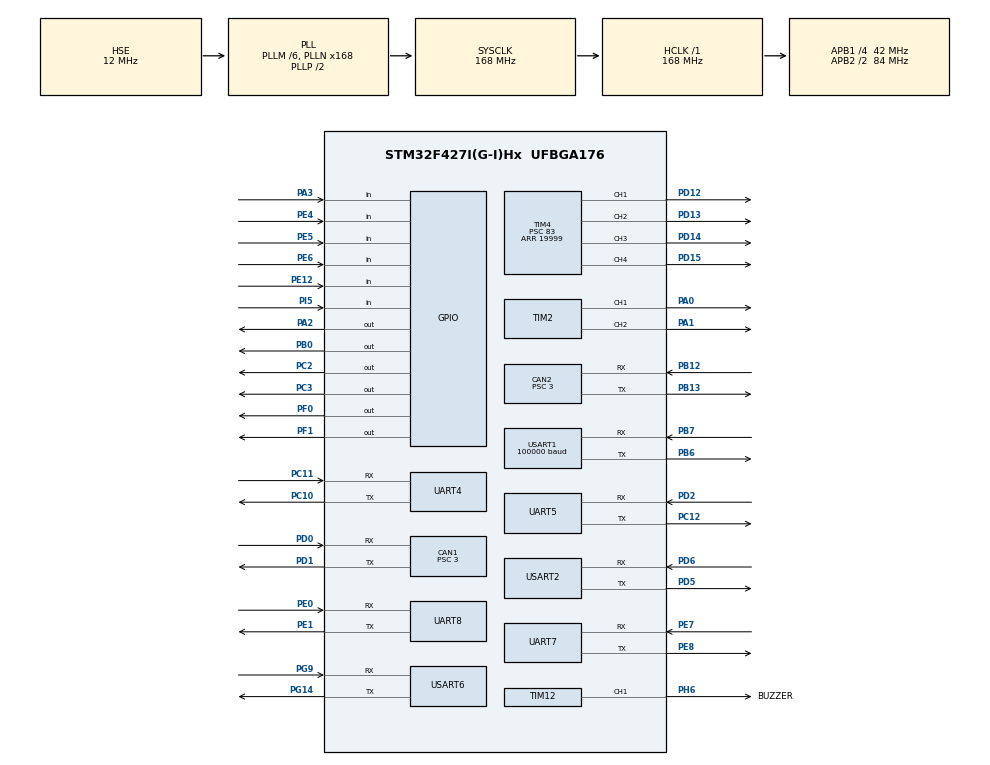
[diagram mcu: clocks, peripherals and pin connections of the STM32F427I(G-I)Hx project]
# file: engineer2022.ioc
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CAN1.BS1=CAN_BS1_10TQ
CAN1.BS2=CAN_BS2_3TQ
CAN1.CalculateBaudRate=1000000
CAN1.CalculateTimeBit=1000
CAN1.CalculateTimeQuantum=71.42857142857143
CAN1.Prescaler=3
CAN2.BS1=CAN_BS1_10TQ
CAN2.BS2=CAN_BS2_3TQ
CAN2.CalculateBaudRate=1000000
CAN2.CalculateTimeBit=1000
CAN2.CalculateTimeQuantum=71.42857142857143
CAN2.Prescaler=3
Dma.Request0=USART1_RX
Dma.Request1=USART6_RX
Dma.Request2=USART6_TX
Dma.Request3=USART2_RX
Dma.Request4=USART2_TX
Dma.USART1_RX.0.Direction=DMA_PERIPH_TO_MEMORY
Dma.USART1_RX.0.FIFOMode=DMA_FIFOMODE_DISABLE
Dma.USART1_RX.0.Instance=DMA2_Stream2
Dma.USART1_RX.0.MemDataAlignment=DMA_MDATAALIGN_BYTE
Dma.USART1_RX.0.MemInc=DMA_MINC_ENABLE
Dma.USART1_RX.0.Mode=DMA_CIRCULAR
Dma.USART1_RX.0.PeriphDataAlignment=DMA_PDATAALIGN_BYTE
Dma.USART1_RX.0.PeriphInc=DMA_PINC_DISABLE
Dma.USART1_RX.0.Priority=DMA_PRIORITY_VERY_HIGH
Dma.USART2_RX.3.Direction=DMA_PERIPH_TO_MEMORY
Dma.USART2_RX.3.FIFOMode=DMA_FIFOMODE_DISABLE
Dma.USART2_RX.3.Instance=DMA1_Stream5
Dma.USART2_RX.3.MemDataAlignment=DMA_MDATAALIGN_BYTE
Dma.USART2_RX.3.MemInc=DMA_MINC_ENABLE
Dma.USART2_RX.3.Mode=DMA_NORMAL
Dma.USART2_RX.3.PeriphDataAlignment=DMA_PDATAALIGN_BYTE
Dma.USART2_RX.3.PeriphInc=DMA_PINC_DISABLE
Dma.USART2_RX.3.Priority=DMA_PRIORITY_VERY_HIGH
Dma.USART2_TX.4.Direction=DMA_MEMORY_TO_PERIPH
Dma.USART2_TX.4.FIFOMode=DMA_FIFOMODE_DISABLE
Dma.USART2_TX.4.Instance=DMA1_Stream6
Dma.USART2_TX.4.MemDataAlignment=DMA_MDATAALIGN_BYTE
Dma.USART2_TX.4.MemInc=DMA_MINC_ENABLE
Dma.USART2_TX.4.Mode=DMA_NORMAL
Dma.USART2_TX.4.PeriphDataAlignment=DMA_PDATAALIGN_BYTE
Dma.USART2_TX.4.PeriphInc=DMA_PINC_DISABLE
Dma.USART2_TX.4.Priority=DMA_PRIORITY_VERY_HIGH
Dma.USART6_RX.1.Direction=DMA_PERIPH_TO_MEMORY
Dma.USART6_RX.1.FIFOMode=DMA_FIFOMODE_DISABLE
Dma.USART6_RX.1.Instance=DMA2_Stream1
Dma.USART6_RX.1.MemDataAlignment=DMA_MDATAALIGN_BYTE
Dma.USART6_RX.1.MemInc=DMA_MINC_ENABLE
Dma.USART6_RX.1.Mode=DMA_NORMAL
Dma.USART6_RX.1.PeriphDataAlignment=DMA_PDATAALIGN_BYTE
Dma.USART6_RX.1.PeriphInc=DMA_PINC_DISABLE
Dma.USART6_RX.1.Priority=DMA_PRIORITY_HIGH
Dma.USART6_TX.2.Direction=DMA_MEMORY_TO_PERIPH
Dma.USART6_TX.2.FIFOMode=DMA_FIFOMODE_DISABLE
Dma.USART6_TX.2.Instance=DMA2_Stream6
Dma.USART6_TX.2.MemDataAlignment=DMA_MDATAALIGN_BYTE
Dma.USART6_TX.2.MemInc=DMA_MINC_ENABLE
Dma.USART6_TX.2.Mode=DMA_NORMAL
Dma.USART6_TX.2.PeriphDataAlignment=DMA_PDATAALIGN_BYTE
Dma.USART6_TX.2.PeriphInc=DMA_PINC_DISABLE
Dma.USART6_TX.2.Priority=DMA_PRIORITY_LOW
FREERTOS.INCLUDE_eTaskGetState=1
FREERTOS.INCLUDE_pcTaskGetTaskName=1
FREERTOS.INCLUDE_uxTaskGetStackHighWaterMark=1
FREERTOS.INCLUDE_uxTaskGetStackHighWaterMark2=1
FREERTOS.INCLUDE_vTaskCleanUpResources=1
FREERTOS.INCLUDE_vTaskDelayUntil=1
FREERTOS.INCLUDE_xQueueGetMutexHolder=1
FREERTOS.INCLUDE_xSemaphoreGetMutexHolder=1
FREERTOS.INCLUDE_xTaskAbortDelay=1
FREERTOS.INCLUDE_xTaskGetCurrentTaskHandle=1
FREERTOS.INCLUDE_xTaskGetHandle=1
FREERTOS.Tasks01=defaultTask,0,128,StartDefaultTask,Default,NULL,Dynamic,NULL,NULL
FREERTOS.configTOTAL_HEAP_SIZE=24576
FREERTOS.configUSE_TIMERS=1
Mcu.Family=STM32F4
Mcu.Name=STM32F427I(G-I)Hx
Mcu.Package=UFBGA176
NVIC.CAN1_RX0_IRQn=true\:5\:0\:false\:false\:true\:true\:true\:true\:true
NVIC.CAN2_RX0_IRQn=true\:5\:0\:false\:false\:true\:true\:true\:true\:true
NVIC.DMA1_Stream5_IRQn=true\:5\:0\:false\:false\:true\:true\:false\:true\:true
NVIC.DMA1_Stream6_IRQn=true\:5\:0\:false\:false\:true\:true\:false\:true\:true
NVIC.DMA2_Stream1_IRQn=true\:5\:0\:false\:false\:true\:true\:false\:true\:true
NVIC.DMA2_Stream2_IRQn=true\:5\:0\:false\:false\:true\:true\:false\:true\:true
NVIC.DMA2_Stream6_IRQn=true\:5\:0\:false\:false\:true\:true\:false\:true\:true
NVIC.PriorityGroup=NVIC_PRIORITYGROUP_4
NVIC.UART7_IRQn=true\:5\:0\:false\:false\:true\:true\:true\:true\:true
NVIC.UART8_IRQn=true\:5\:0\:false\:false\:true\:true\:true\:true\:true
NVIC.USART1_IRQn=true\:5\:0\:false\:false\:true\:true\:true\:true\:true
NVIC.USART2_IRQn=true\:5\:0\:false\:false\:true\:true\:true\:true\:true
NVIC.USART6_IRQn=true\:5\:0\:false\:false\:true\:true\:true\:true\:true
PA0/WKUP.Signal=S_TIM2_CH1_ETR
PA1.Signal=S_TIM2_CH2
PA13.Mode=Serial_Wire
PA13.Signal=SYS_JTMS-SWDIO
PA14.Mode=Serial_Wire
PA14.Signal=SYS_JTCK-SWCLK
PA2.GPIO_PuPd=GPIO_PULLDOWN
PA2.Signal=GPIO_Output
PA3.GPIO_PuPd=GPIO_PULLDOWN
PA3.Signal=GPIO_Input
PB0.Signal=GPIO_Output
PB12.Mode=CAN_Activate
PB12.Signal=CAN2_RX
PB13.Mode=CAN_Activate
PB13.Signal=CAN2_TX
PB6.Mode=Asynchronous
PB6.Signal=USART1_TX
PB7.Mode=Asynchronous
PB7.Signal=USART1_RX
PC10.Mode=Asynchronous
PC10.Signal=UART4_TX
PC11.Mode=Asynchronous
PC11.Signal=UART4_RX
PC12.Mode=Asynchronous
PC12.Signal=UART5_TX
PC2.Signal=GPIO_Output
PC3.Signal=GPIO_Output
PD0.Mode=CAN_Activate
PD0.Signal=CAN1_RX
PD1.Mode=CAN_Activate
PD1.Signal=CAN1_TX
PD12.Signal=S_TIM4_CH1
PD13.Signal=S_TIM4_CH2
PD14.Signal=S_TIM4_CH3
PD15.Signal=S_TIM4_CH4
PD2.Mode=Asynchronous
PD2.Signal=UART5_RX
PD5.Mode=Asynchronous
PD5.Signal=USART2_TX
PD6.Mode=Asynchronous
PD6.Signal=USART2_RX
PE0.Mode=Asynchronous
PE0.Signal=UART8_RX
PE1.Mode=Asynchronous
PE1.Signal=UART8_TX
PE12.Signal=GPIO_Input
PE4.Signal=GPIO_Input
PE5.Signal=GPIO_Input
PE6.Signal=GPIO_Input
PE7.Mode=Asynchronous
PE7.Signal=UART7_RX
PE8.Mode=Asynchronous
PE8.Signal=UART7_TX
PF0.GPIO_PuPd=GPIO_PULLDOWN
PF0.Signal=GPIO_Output
PF1.GPIO_PuPd=GPIO_PULLDOWN
PF1.Signal=GPIO_Output
PG14.Mode=Asynchronous
PG14.Signal=USART6_TX
PG9.Mode=Asynchronous
PG9.Signal=USART6_RX
PH0/OSC_IN.Mode=HSE-External-Oscillator
PH0/OSC_IN.Signal=RCC_OSC_IN
PH1/OSC_OUT.Mode=HSE-External-Oscillator
PH1/OSC_OUT.Signal=RCC_OSC_OUT
PH6.GPIO_Label=BUZZER
PH6.GPIO_PuPd=GPIO_PULLUP
PH6.GPIO_Speed=GPIO_SPEED_FREQ_VERY_HIGH
PH6.Signal=S_TIM12_CH1
PI5.GPIO_PuPd=GPIO_PULLDOWN
PI5.Signal=GPIO_Input
ProjectManager.HeapSize=0x200
ProjectManager.StackSize=0x400
ProjectManager.TargetToolchain=MDK-ARM V5
RCC.48MHZClocksFreq_Value=84000000
RCC.AHBFreq_Value=168000000
RCC.APB1CLKDivider=RCC_HCLK_DIV4
RCC.APB1Freq_Value=42000000
RCC.APB1TimFreq_Value=84000000
RCC.APB2CLKDivider=RCC_HCLK_DIV2
RCC.APB2Freq_Value=84000000
RCC.APB2TimFreq_Value=168000000
RCC.CortexFreq_Value=168000000
RCC.HCLKFreq_Value=168000000
RCC.HSE_VALUE=12000000
RCC.HSI_VALUE=16000000
RCC.LSE_VALUE=32768
RCC.PLLM=6
RCC.PLLN=168
RCC.PLLSourceVirtual=RCC_PLLSOURCE_HSE
RCC.SYSCLKFreq_VALUE=168000000
RCC.SYSCLKSource=RCC_SYSCLKSOURCE_PLLCLK
RCC.VCOOutputFreq_Value=336000000
SH.S_TIM12_CH1.0=TIM12_CH1,PWM Generation1 CH1
SH.S_TIM2_CH1_ETR.0=TIM2_CH1,PWM Generation1 CH1
SH.S_TIM2_CH2.0=TIM2_CH2,PWM Generation2 CH2
SH.S_TIM4_CH1.0=TIM4_CH1,PWM Generation1 CH1
SH.S_TIM4_CH2.0=TIM4_CH2,PWM Generation2 CH2
SH.S_TIM4_CH3.0=TIM4_CH3,PWM Generation3 CH3
SH.S_TIM4_CH4.0=TIM4_CH4,PWM Generation4 CH4
TIM12.Channel-PWM\ Generation1\ CH1=TIM_CHANNEL_1
TIM12.Period=20999
TIM2.Channel-PWM\ Generation1\ CH1=TIM_CHANNEL_1
TIM2.Channel-PWM\ Generation2\ CH2=TIM_CHANNEL_2
TIM4.Channel-PWM\ Generation1\ CH1=TIM_CHANNEL_1
TIM4.Channel-PWM\ Generation2\ CH2=TIM_CHANNEL_2
TIM4.Channel-PWM\ Generation3\ CH3=TIM_CHANNEL_3
TIM4.Channel-PWM\ Generation4\ CH4=TIM_CHANNEL_4
TIM4.Period=19999
TIM4.Prescaler=83
UART4.VirtualMode=Asynchronous
UART5.VirtualMode=Asynchronous
UART7.VirtualMode=Asynchronous
UART8.VirtualMode=Asynchronous
USART1.BaudRate=100000
USART1.Mode=MODE_RX
USART1.Parity=PARITY_EVEN
USART1.VirtualMode=VM_ASYNC
USART2.VirtualMode=VM_ASYNC
USART6.VirtualMode=VM_ASYNC
VP_FREERTOS_VS_CMSIS_V1.Mode=CMSIS_V1
VP_TIM12_VS_ClockSourceINT.Mode=Internal
VP_TIM2_VS_ClockSourceINT.Mode=Internal
VP_TIM4_VS_ClockSourceINT.Mode=Internal
board=custom

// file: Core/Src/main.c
/* USER CODE BEGIN Header */
/**
  ******************************************************************************
  * @file           : main.c
  * @brief          : Main program body
  ******************************************************************************
  * @attention
  *
  * <h2><center>&copy; Copyright (c) 2022 STMicroelectronics.
  * All rights reserved.</center></h2>
  *
  * This software component is licensed by ST under Ultimate Liberty license
  * SLA0044, the "License"; You may not use this file except in compliance with
  * the License. You may obtain a copy of the License at:
  *                             www.st.com/SLA0044
  *
  ******************************************************************************
  */
/* USER CODE END Header */
#include "main.h"
#include "cmsis_os.h"
#include "can.h"
#include "dma.h"
#include "tim.h"
#include "usart.h"
#include "gpio.h"

/* USER CODE BEGIN Includes */
#include "bsp_rc.h"
#include "bsp_can.h"
#include "bsp_gyro.h"
#include "bsp_usart.h"
#include "CAN_receive.h"
#include "remote_control.h"
#include "bsp_dwt.h"
/* USER CODE END Includes */

void SystemClock_Config(void);
void MX_FREERTOS_Init(void);

int main(void)
{

  /* MCU Configuration--------------------------------------------------------*/

  /* Reset of all peripherals, Initializes the Flash interface and the Systick. */
  HAL_Init();

  /* Configure the system clock */
  SystemClock_Config();

  /* Initialize all configured peripherals */
  MX_GPIO_Init();
  MX_DMA_Init();
  MX_CAN1_Init();
  MX_CAN2_Init();
  MX_TIM4_Init();
  MX_USART1_UART_Init();
  MX_TIM12_Init();
  MX_UART7_Init();
  MX_TIM2_Init();
  MX_USART6_UART_Init();
  MX_USART2_UART_Init();
  MX_UART8_Init();
  MX_UART4_Init();
  MX_UART5_Init();

  /* USER CODE BEGIN 2 */
	remote_control_init();
	can_filter_init();
	HAL_TIM_Base_Start(&htim4);
  HAL_TIM_PWM_Start(&htim4, TIM_CHANNEL_1);
  HAL_TIM_PWM_Start(&htim4, TIM_CHANNEL_2);
	HAL_TIM_PWM_Start(&htim4, TIM_CHANNEL_3);
  HAL_TIM_PWM_Start(&htim4, TIM_CHANNEL_4);
	HAL_TIM_Base_Start(&htim12);
  HAL_TIM_PWM_Start(&htim12, TIM_CHANNEL_1);
	uart5_init();
	uart6_init();
	uart7_init();
	uart8_init();
	DWT_Init(168);
  /* USER CODE END 2 */

  /* Call init function for freertos objects (in freertos.c) */
  MX_FREERTOS_Init();

  /* Start scheduler */
  osKernelStart();

  /* We should never get here as control is now taken by the scheduler */
  /* Infinite loop */
  while (1)
  {
  }
}

void SystemClock_Config(void)
{
  RCC_OscInitTypeDef RCC_OscInitStruct = {0};
  RCC_ClkInitTypeDef RCC_ClkInitStruct = {0};

  /** Configure the main internal regulator output voltage
  */
  __HAL_RCC_PWR_CLK_ENABLE();
  __HAL_PWR_VOLTAGESCALING_CONFIG(PWR_REGULATOR_VOLTAGE_SCALE1);

  /** Initializes the RCC Oscillators according to the specified parameters
  * in the RCC_OscInitTypeDef structure.
  */
  RCC_OscInitStruct.OscillatorType = RCC_OSCILLATORTYPE_HSE;
  RCC_OscInitStruct.HSEState = RCC_HSE_ON;
  RCC_OscInitStruct.PLL.PLLState = RCC_PLL_ON;
  RCC_OscInitStruct.PLL.PLLSource = RCC_PLLSOURCE_HSE;
  RCC_OscInitStruct.PLL.PLLM = 6;
  RCC_OscInitStruct.PLL.PLLN = 168;
  RCC_OscInitStruct.PLL.PLLP = RCC_PLLP_DIV2;
  RCC_OscInitStruct.PLL.PLLQ = 4;
  if (HAL_RCC_OscConfig(&RCC_OscInitStruct) != HAL_OK)
  {
    Error_Handler();
  }

  /** Initializes the CPU, AHB and APB buses clocks
  */
  RCC_ClkInitStruct.ClockType = RCC_CLOCKTYPE_HCLK|RCC_CLOCKTYPE_SYSCLK
                              |RCC_CLOCKTYPE_PCLK1|RCC_CLOCKTYPE_PCLK2;
  RCC_ClkInitStruct.SYSCLKSource = RCC_SYSCLKSOURCE_PLLCLK;
  RCC_ClkInitStruct.AHBCLKDivider = RCC_SYSCLK_DIV1;
  RCC_ClkInitStruct.APB1CLKDivider = RCC_HCLK_DIV4;
  RCC_ClkInitStruct.APB2CLKDivider = RCC_HCLK_DIV2;

  if (HAL_RCC_ClockConfig(&RCC_ClkInitStruct, FLASH_LATENCY_5) != HAL_OK)
  {
    Error_Handler();
  }
}

void Error_Handler(void)
{
  __disable_irq();
  while (1)
  {
  }
}

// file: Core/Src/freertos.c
/* USER CODE BEGIN Header */
/**
  ******************************************************************************
  * File Name          : freertos.c
  * Description        : Code for freertos applications
  ******************************************************************************
  * @attention
  *
  * <h2><center>&copy; Copyright (c) 2022 STMicroelectronics.
  * All rights reserved.</center></h2>
  *
  * This software component is licensed by ST under Ultimate Liberty license
  * SLA0044, the "License"; You may not use this file except in compliance with
  * the License. You may obtain a copy of the License at:
  *                             www.st.com/SLA0044
  *
  ******************************************************************************
  */
/* USER CODE END Header */

#include "FreeRTOS.h"
#include "task.h"
#include "main.h"
#include "cmsis_os.h"

/* USER CODE BEGIN Includes */
#include "referee_usart_task.h"
#include "A_communicate_task.h"
#include "arm_control_task.h"
#include "chassis_task.h"
#include "UI_task.h"
/* USER CODE END Includes */

/* USER CODE BEGIN Variables */
osThreadId chassisTaskHandle;
osThreadId ArmcontrolTaskHandle;
osThreadId AcommunicatetaskHandle;
osThreadId RefereeusartTaskHandle;
//osThreadId UITaskHandle;
/* USER CODE END Variables */
//osThreadId defaultTaskHandle;

void StartDefaultTask(void const * argument);

void MX_FREERTOS_Init(void); /* (MISRA C 2004 rule 8.1) */

/* GetIdleTaskMemory prototype (linked to static allocation support) */
void vApplicationGetIdleTaskMemory( StaticTask_t **ppxIdleTaskTCBBuffer, StackType_t **ppxIdleTaskStackBuffer, uint32_t *pulIdleTaskStackSize );

/* GetTimerTaskMemory prototype (linked to static allocation support) */
void vApplicationGetTimerTaskMemory( StaticTask_t **ppxTimerTaskTCBBuffer, StackType_t **ppxTimerTaskStackBuffer, uint32_t *pulTimerTaskStackSize );

/* USER CODE BEGIN GET_IDLE_TASK_MEMORY */
static StaticTask_t xIdleTaskTCBBuffer;
static StackType_t xIdleStack[configMINIMAL_STACK_SIZE];

void vApplicationGetIdleTaskMemory( StaticTask_t **ppxIdleTaskTCBBuffer, StackType_t **ppxIdleTaskStackBuffer, uint32_t *pulIdleTaskStackSize )
{
  *ppxIdleTaskTCBBuffer = &xIdleTaskTCBBuffer;
  *ppxIdleTaskStackBuffer = &xIdleStack[0];
  *pulIdleTaskStackSize = configMINIMAL_STACK_SIZE;
  /* place for user code */
}
/* USER CODE END GET_IDLE_TASK_MEMORY */

/* USER CODE BEGIN GET_TIMER_TASK_MEMORY */
static StaticTask_t xTimerTaskTCBBuffer;
static StackType_t xTimerStack[configTIMER_TASK_STACK_DEPTH];

void vApplicationGetTimerTaskMemory( StaticTask_t **ppxTimerTaskTCBBuffer, StackType_t **ppxTimerTaskStackBuffer, uint32_t *pulTimerTaskStackSize )
{
  *ppxTimerTaskTCBBuffer = &xTimerTaskTCBBuffer;
  *ppxTimerTaskStackBuffer = &xTimerStack[0];
  *pulTimerTaskStackSize = configTIMER_TASK_STACK_DEPTH;
  /* place for user code */
}
/* USER CODE END GET_TIMER_TASK_MEMORY */

void MX_FREERTOS_Init(void) {

  /* Create the thread(s) */
  /* definition and creation of defaultTask */
//  osThreadDef(defaultTask, StartDefaultTask, osPriorityNormal, 0, 128);
//  defaultTaskHandle = osThreadCreate(osThread(defaultTask), NULL);

  /* USER CODE BEGIN RTOS_THREADS */
  /* add threads, ... */
	osThreadDef(ChassisTask, chassis_task, osPriorityNormal, 0, 768);
  chassisTaskHandle = osThreadCreate(osThread(ChassisTask), NULL);

	osThreadDef(ArmcontrolTask, arm_control_task, osPriorityNormal, 0, 2048);
  ArmcontrolTaskHandle = osThreadCreate(osThread(ArmcontrolTask), NULL);

	osThreadDef(RefereeusartTask, referee_usart_task, osPriorityHigh, 0, 256);
  RefereeusartTaskHandle = osThreadCreate(osThread(RefereeusartTask), NULL);

	osThreadDef(AcommunicateTask, A_communicate_task, osPriorityNormal, 0, 128);
	AcommunicatetaskHandle = osThreadCreate(osThread(AcommunicateTask), NULL);

//	osThreadDef(UITask, ui_task, osPriorityAboveNormal, 0, 256);
//  UITaskHandle = osThreadCreate(osThread(UITask), NULL);

  /* USER CODE END RTOS_THREADS */

}

void StartDefaultTask(void const * argument)
{
  for(;;)
  {
    osDelay(1);
  }
}
